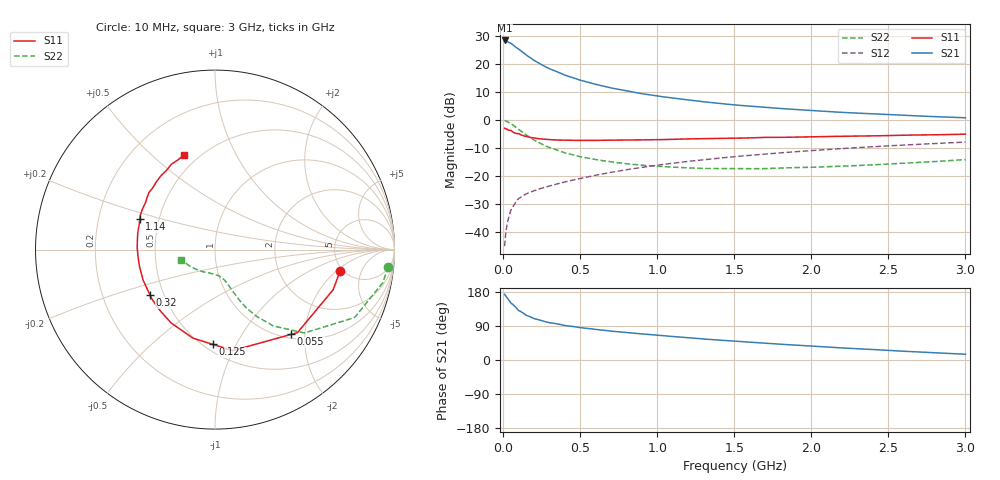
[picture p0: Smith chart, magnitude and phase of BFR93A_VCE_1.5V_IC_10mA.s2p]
! Infineon Technologies  Discrete & RF Semiconductors
! BFR93A
! VCE =  1.5 V,  IC =  10 mA
! Common Emitter S-Parameters:  Nov 2015
# GHz  S  MA  R  50
!  f  S11  S21  S12  S22
! GHz  MAG  ANG  MAG  ANG  MAG  ANG  MAG  ANG
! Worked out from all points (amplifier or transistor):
!   180 points, 10 MHz to 3 GHz, reference 50 ohm
!   highest |S21| = 28.3 dB at 10 MHz (marker M1)
!   |S21| within 3 dB of that: start of sweep to 99.1 MHz
!   unconditionally stable (mu >= 1): 539.9 MHz to end of sweep
!   at 160 MHz: K = 0.52, MSG = 24.5 dB, |S12| = -26.2 dB
!   at 1.22 GHz: K = 1.11, MAG = 8.8 dB, |S12| = -14.7 dB
!   at 3 GHz: K = 1.01, MAG = 3.6 dB, |S12| = -7.9 dB
!   S11 on the Smith chart (normalised r, x): 10 MHz: 4.74, -2.24; 55 MHz: 1.08, -1.70; 125 MHz: 0.55, -0.81; 320 MHz: 0.42, -0.26; 1.14 GHz: 0.39, +0.17; 3 GHz: 0.42, +0.64
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0.01  0.7076 -9.6  26.01 173.5  0.0056 84.4  0.969 -5.7
0.02  0.6952 -18.8  25.56 167.4  0.0108 80.0  0.9534 -11.1
0.03  0.6652 -27.2  24.56 162.2  0.0152 74.7  0.9174 -15.7
0.05  0.6519 -45.2  23.25 150.8  0.0242 69.9  0.8652 -25.9
0.055  0.6345 -48.1  22.66 149.2  0.0256 68.2  0.844 -27.3
0.1  0.5713 -80.0  18.35 131.0  0.0393 58.6  0.6811 -43.0
0.125  0.5281 -91.3  16.23 125.3  0.0436 56.0  0.6064 -47.2
0.15  0.5085 -104.0  14.32 118.0  0.0479 53.8  0.5359 -52.6
0.2  0.4762 -120.9  11.54 109.6  0.0545 52.7  0.438 -58.1
0.26  0.4532 -135.3  9.289 102.4  0.0616 52.8  0.36 -62.1
0.3  0.4459 -142.5  8.171 98.6  0.0661 53.5  0.3216 -63.9
0.32  0.4415 -145.3  7.783 97.4  0.0685 54.0  0.3088 -64.4
0.4  0.435 -157.1  6.274 91.1  0.0779 55.6  0.2579 -66.8
0.52  0.4305 -169.1  4.935 84.6  0.0927 57.5  0.2156 -68.9
0.7  0.4337 178.4  3.71 76.3  0.1159 58.9  0.1781 -72.7
0.9  0.4404 167.7  2.929 68.8  0.142 59.1  0.1553 -78.2
1.02  0.4439 162.4  2.616 64.7  0.1579 58.7  0.1476 -81.9
1.14  0.4522 157.9  2.372 60.8  0.1738 58.0  0.1418 -86.6
1.52  0.47 144.8  1.828 49.3  0.223 55.1  0.1343 -102.7
2.02  0.4997 130.6  1.452 36.3  0.2853 49.9  0.1433 -124.0
2.52  0.5271 118.7  1.231 25.0  0.3463 43.7  0.1641 -144.1
3  0.5549 108.0  1.089 15.2  0.401 37.2  0.196 -163.6
